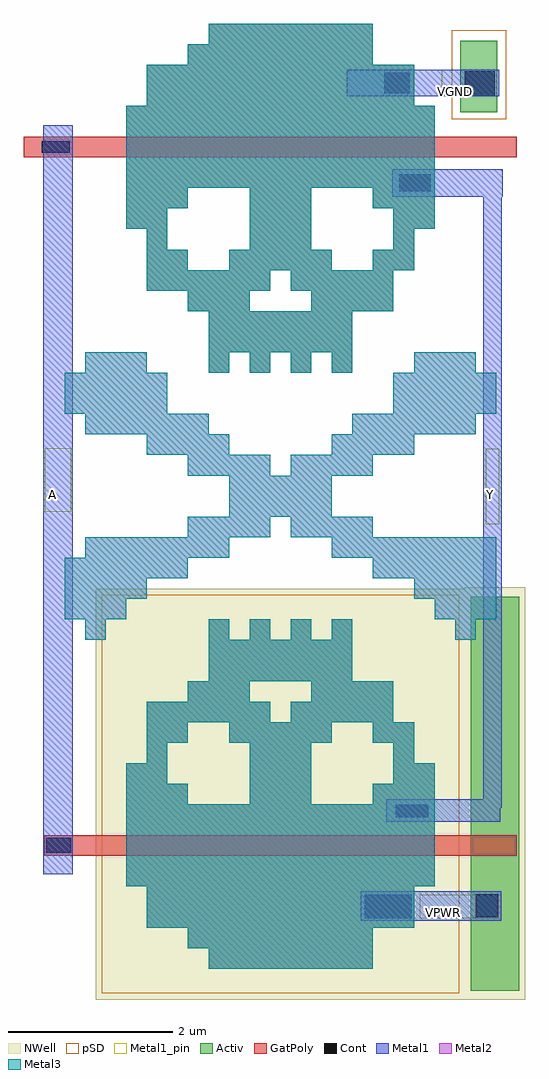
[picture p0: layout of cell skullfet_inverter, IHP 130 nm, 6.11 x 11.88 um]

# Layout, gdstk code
import gdstk
lib = gdstk.Library(unit=1e-6, precision=1e-09)
def R(c, l, rs):  # rectangles x0, y0, x1, y1
    for r in rs: c.add(gdstk.rectangle(r[:2], r[2:], *l))
def A(c, l, x, y, w, h, nx, ny, dx, dy):  # array of equal rectangles
    R(c, l, [(x+i*dx, y+j*dy, x+i*dx+w, y+j*dy+h) for i in range(nx) for j in range(ny)])
Activ = (1, 0)
GatPoly = (5, 0)
Cont = (6, 0)
Metal1 = (8, 0)
Metal1_pin = (8, 2)
Metal2 = (10, 0)
pSD = (14, 0)
Metal3 = (30, 0)
NWell = (31, 0)

skullfet_inverter = lib.new_cell('skullfet_inverter')
A(skullfet_inverter, Activ, 2.25, 5, 0.25, 0.25, 4, 2, 0.5, 3.25)
R(skullfet_inverter, Activ, [(5.44,0.73,6.03,5.525), (2.25,1,4.25,1.25), (2,1.25,4.25,1.5), (1.5,1.5,4.75,2), (1.25,2,5,3), (1.25,3,2,3.25), (2.75,3,3.5,3.75), (4.25,3,5,3.25), (1.25,3.25,1.75,3.5), (4.5,3.25,5,3.5), (1.5,3.5,1.75,4.25), (4.5,3.5,4.75,4), (1.75,3.75,2,4.25), (2.5,3.75,3.75,4), (4.25,3.75,4.5,4.5), (2,4,2.25,4.5), (2.25,4,2.75,5), (2.75,4,3,4.25), (3.25,4,4.25,4.25), (3.5,4.25,4.25,4.5), (2.75,4.5,4,5), (2.25,8.5,2.75,9.5), (2.75,8.5,4,9), (2,9,2.25,9.5), (3.5,9,4.25,9.25), (4.25,9,4.5,9.75), (1.5,9.25,1.75,10), (1.75,9.25,2,9.75), (2.75,9.25,3,9.5), (3.25,9.25,4.25,9.5), (2.5,9.5,3.75,9.75), (4.5,9.5,4.75,10), (2.75,9.75,3.5,10.5), (1.25,10,1.75,10.25), (4.5,10,5,10.25), (1.25,10.25,2,10.5), (4.25,10.25,5,10.5), (1.25,10.5,5,11.5), (5.31,11.42,5.765,12.29), (1.5,11.5,4.75,12), (2,12,4.25,12.25), (2.25,12.25,4.25,12.5)])
R(skullfet_inverter, GatPoly, [(0.25,2.375,6,2.625), (0,10.875,6,11.125)])
R(skullfet_inverter, Cont, [(4.15,1.615,4.72,1.9), (5.5,1.625,5.775,1.905), (0.275,2.41,0.58,2.59), (4.525,2.84,4.925,2.995), (4.57,10.46,4.955,10.665), (0.22,10.93,0.56,11.07), (5.365,11.615,5.735,11.92), (4.385,11.65,4.7,11.9)])
R(skullfet_inverter, Metal1, [(4.1,1.585,5.81,1.945), (0.24,2.15,0.6,11.26), (4.415,2.79,5.8,3.06), (5.59,2.955,5.815,10.71), (4.485,10.39,5.83,10.725), (3.93,11.615,5.79,11.935)])
R(skullfet_inverter, Metal1_pin, [(4.82,1.615,5.78,1.9), (5.62,6.405,5.785,7.325), (0.26,6.56,0.58,7.335), (5.085,11.615,5.79,11.935)])
A(skullfet_inverter, Metal2, 2.25, 5, 0.25, 0.25, 4, 2, 0.5, 3.25)
R(skullfet_inverter, Metal2, [(2.25,1,4.25,1.25), (2,1.25,4.25,1.5), (1.5,1.5,4.75,2), (1.25,2,5,3), (1.25,3,2,3.25), (2.75,3,3.5,3.75), (4.25,3,5,3.25), (1.25,3.25,1.75,3.5), (4.5,3.25,5,3.5), (1.5,3.5,1.75,4.25), (4.5,3.5,4.75,4), (1.75,3.75,2,4.25), (2.5,3.75,3.75,4), (4.25,3.75,4.5,4.5), (2,4,2.25,4.5), (2.25,4,2.75,5), (2.75,4,3,4.25), (3.25,4,4.25,4.25), (3.5,4.25,4.25,4.5), (2.75,4.5,4,5), (0.75,5,1,5.25), (5.25,5,5.5,5.25), (0.5,5.25,1.25,5.5), (5,5.25,5.75,5.5), (0.5,5.5,1.5,5.75), (4.75,5.5,5.75,5.75), (0.5,5.75,2,6), (4.25,5.75,5.75,6), (0.75,6,2.5,6.25), (3.75,6,5.75,6.25), (2,6.25,3,6.5), (3.25,6.25,4.25,6.5), (2.5,6.5,3.75,7), (2,7,3,7.25), (3.25,7,4.25,7.25), (1.5,7.25,2.5,7.5), (3.75,7.25,4.75,7.5), (0.75,7.5,2.25,7.75), (4,7.5,5.5,7.75), (0.5,7.75,1.75,8.25), (4.5,7.75,5.75,8.25), (0.75,8.25,1.5,8.5), (4.75,8.25,5.5,8.5), (2.25,8.5,2.75,9.5), (2.75,8.5,4,9), (2,9,2.25,9.5), (3.5,9,4.25,9.25), (4.25,9,4.5,9.75), (1.5,9.25,1.75,10), (1.75,9.25,2,9.75), (2.75,9.25,3,9.5), (3.25,9.25,4.25,9.5), (2.5,9.5,3.75,9.75), (4.5,9.5,4.75,10), (2.75,9.75,3.5,10.5), (1.25,10,1.75,10.25), (4.5,10,5,10.25), (1.25,10.25,2,10.5), (4.25,10.25,5,10.5), (1.25,10.5,5,11.5), (1.5,11.5,4.75,12), (2,12,4.25,12.25), (2.25,12.25,4.25,12.5)])
R(skullfet_inverter, pSD, [(0.95,0.7,5.3,5.55), (5.21,11.335,5.87,12.415)])
A(skullfet_inverter, Metal3, 2.25, 5, 0.25, 0.25, 4, 2, 0.5, 3.25)
R(skullfet_inverter, Metal3, [(2.25,1,4.25,1.25), (2,1.25,4.25,1.5), (1.5,1.5,4.75,2), (1.25,2,5,3), (1.25,3,2,3.25), (2.75,3,3.5,3.75), (4.25,3,5,3.25), (1.25,3.25,1.75,3.5), (4.5,3.25,5,3.5), (1.5,3.5,1.75,4.25), (4.5,3.5,4.75,4), (1.75,3.75,2,4.25), (2.5,3.75,3.75,4), (4.25,3.75,4.5,4.5), (2,4,2.25,4.5), (2.25,4,2.75,5), (2.75,4,3,4.25), (3.25,4,4.25,4.25), (3.5,4.25,4.25,4.5), (2.75,4.5,4,5), (0.75,5,1,5.25), (5.25,5,5.5,5.25), (0.5,5.25,1.25,5.5), (5,5.25,5.75,5.5), (0.5,5.5,1.5,5.75), (4.75,5.5,5.75,5.75), (0.5,5.75,2,6), (4.25,5.75,5.75,6), (0.75,6,2.5,6.25), (3.75,6,5.75,6.25), (2,6.25,3,6.5), (3.25,6.25,4.25,6.5), (2.5,6.5,3.75,7), (2,7,3,7.25), (3.25,7,4.25,7.25), (1.5,7.25,2.5,7.5), (3.75,7.25,4.75,7.5), (0.75,7.5,2.25,7.75), (4,7.5,5.5,7.75), (0.5,7.75,1.75,8.25), (4.5,7.75,5.75,8.25), (0.75,8.25,1.5,8.5), (4.75,8.25,5.5,8.5), (2.25,8.5,2.75,9.5), (2.75,8.5,4,9), (2,9,2.25,9.5), (3.5,9,4.25,9.25), (4.25,9,4.5,9.75), (1.5,9.25,1.75,10), (1.75,9.25,2,9.75), (2.75,9.25,3,9.5), (3.25,9.25,4.25,9.5), (2.5,9.5,3.75,9.75), (4.5,9.5,4.75,10), (2.75,9.75,3.5,10.5), (1.25,10,1.75,10.25), (4.5,10,5,10.25), (1.25,10.25,2,10.5), (4.25,10.25,5,10.5), (1.25,10.5,5,11.5), (1.5,11.5,4.75,12), (2,12,4.25,12.25), (2.25,12.25,4.25,12.5)])
R(skullfet_inverter, NWell, [(0.875,0.625,5.375,5.625), (5.365,0.625,6.105,5.64)])
skullfet_inverter.add(gdstk.Label('Y', (5.685,6.77), layer=8, texttype=25))
skullfet_inverter.add(gdstk.Label('A', (0.355,6.775), layer=8, texttype=25))
skullfet_inverter.add(gdstk.Label('VGND', (5.26,11.675), layer=8, texttype=25))
skullfet_inverter.add(gdstk.Label('VPWR', (5.11,1.685), layer=8, texttype=25))

lib.write_gds('skullfet_inverter.gds')
